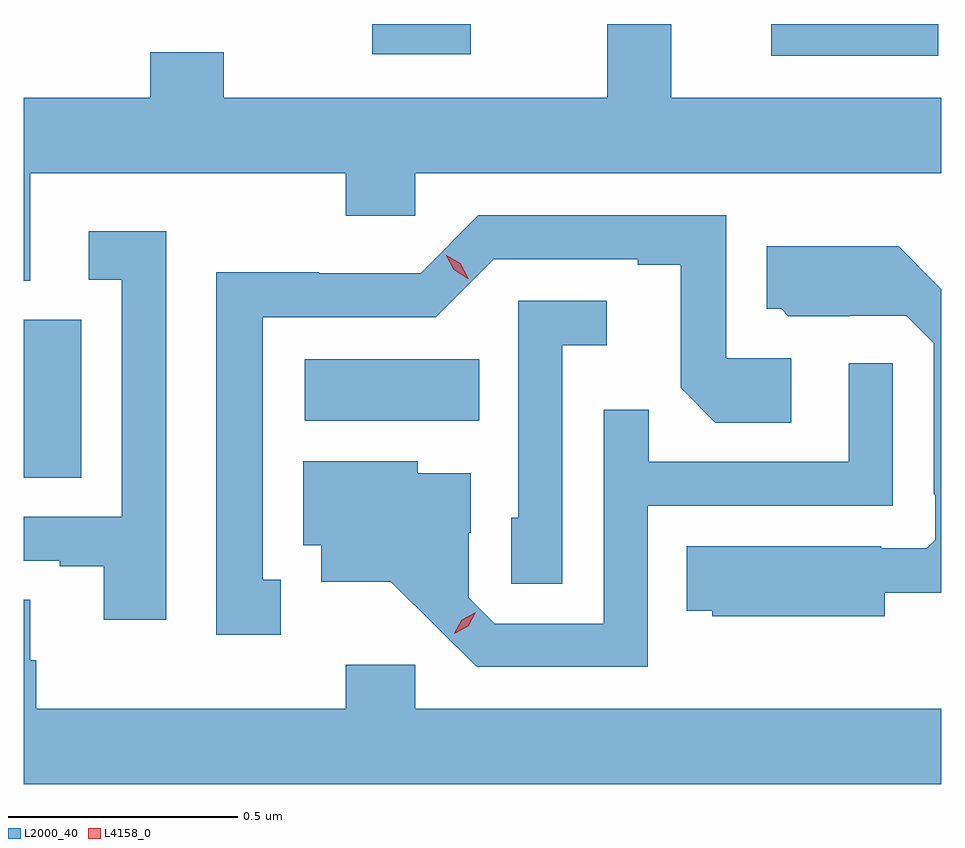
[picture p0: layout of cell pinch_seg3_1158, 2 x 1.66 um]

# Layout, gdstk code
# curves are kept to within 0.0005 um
import gdstk
lib = gdstk.Library(unit=1e-6, precision=1e-09)
def R(c, l, rs):  # rectangles x0, y0, x1, y1
    for r in rs: c.add(gdstk.rectangle(r[:2], r[2:], *l))
def P(c, l, *ps):  # polygons
    for p in ps: c.add(gdstk.Polygon(p, *l))
L2000_40 = (2000, 40)
L4158_0 = (4158, 0)

pinch_seg3_1158 = lib.new_cell('pinch_seg3_1158')
R(pinch_seg3_1158, L2000_40, [(323.243,720.232,323.368,720.576), (323.856,720.356,324.236,720.49), (324.873,721.152,325.237,721.221), (324.003,721.155,324.217,721.221)])
P(pinch_seg3_1158, L2000_40, [(323.257,720.896),(323.945,720.896),(323.945,720.803),(324.096,720.803),(324.096,720.896),(325.243,720.896),(325.243,721.06),(324.655,721.06),(324.655,721.221),(324.515,721.221),(324.515,721.06),(323.679,721.06),(323.679,721.159),(323.519,721.159),(323.519,721.06),(323.243,721.06),(323.243,720.661),(323.257,720.661)],
  [(323.803,720.009),(323.764,720.009),(323.764,720.582),(324.141,720.582),(324.267,720.708),(324.581,720.708),(324.581,720.696),(324.675,720.696),(324.675,720.428),(324.751,720.352),(324.916,720.352),(324.916,720.492),(324.774,720.492),(324.774,720.804),(324.234,720.804),(324.108,720.678),(323.886,720.678),(323.886,720.68),(323.663,720.68),(323.663,719.889),(323.803,719.889)],
  [(323.553,720.769),(323.385,720.769),(323.385,720.663),(323.457,720.663),(323.457,720.147),(323.243,720.147),(323.243,720.051),(323.321,720.051),(323.321,720.039),(323.417,720.039),(323.417,719.922),(323.553,719.922)],
  [(325.12,719.981),(325.243,719.981),(325.243,720.643),(325.151,720.736),(324.863,720.736),(324.863,720.6),(324.894,720.6),(324.91,720.584),(325.044,720.584),(325.044,720.585),(325.167,720.585),(325.227,720.525),(325.227,720.196),(325.23,720.196),(325.23,720.096),(325.212,720.078),(325.112,720.078),(325.112,720.082),(324.688,720.082),(324.688,719.942),(324.744,719.942),(324.744,719.93),(325.12,719.93)],
  [(324.417,720.521),(324.514,720.521),(324.514,720.618),(324.321,720.618),(324.321,720.144),(324.306,720.144),(324.306,720.001),(324.417,720.001)],
  [(324.603,720.171),(325.137,720.171),(325.137,720.481),(325.041,720.481),(325.041,720.267),(324.605,720.267),(324.605,720.38),(324.507,720.38),(324.507,719.913),(324.27,719.913),(324.213,719.97),(324.213,720.112),(324.217,720.112),(324.217,720.241),(324.102,720.241),(324.102,720.268),(323.852,720.268),(323.852,720.084),(323.891,720.084),(323.891,720.005),(324.043,720.005),(324.23,719.82),(324.603,719.82)],
  [(325.243,719.728),(324.096,719.728),(324.096,719.824),(323.945,719.824),(323.945,719.728),(323.27,719.728),(323.27,719.834),(323.257,719.834),(323.257,719.966),(323.243,719.966),(323.243,719.564),(325.243,719.564)])
P(pinch_seg3_1158, L4158_0, [(324.181,719.892),(324.181,719.893),(324.198,719.922),(324.228,719.938),(324.228,719.938),(324.228,719.938),(324.212,719.908),(324.181,719.892)],
  [(324.211,720.666),(324.18,720.685),(324.163,720.718),(324.163,720.718),(324.163,720.718),(324.195,720.699),(324.212,720.667),(324.212,720.666)])

lib.write_gds('pinch_seg3_1158.gds')
